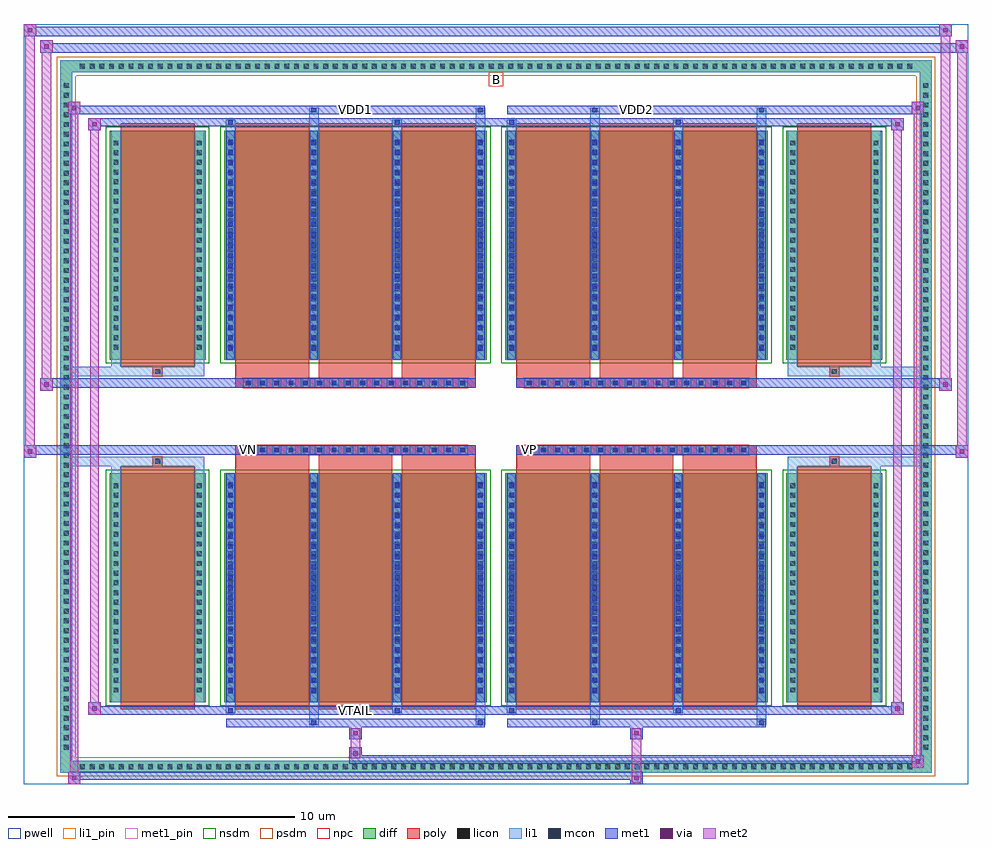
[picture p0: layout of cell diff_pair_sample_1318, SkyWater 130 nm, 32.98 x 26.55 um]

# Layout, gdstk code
import gdstk
lib = gdstk.Library(unit=1e-6, precision=5e-09)
def R(c, l, rs):  # rectangles x0, y0, x1, y1
    for r in rs: c.add(gdstk.rectangle(r[:2], r[2:], *l))
def A(c, l, x, y, w, h, nx, ny, dx, dy):  # array of equal rectangles
    R(c, l, [(x+i*dx, y+j*dy, x+i*dx+w, y+j*dy+h) for i in range(nx) for j in range(ny)])
def P(c, l, *ps):  # polygons
    for p in ps: c.add(gdstk.Polygon(p, *l))
pwell = (64, 44)
diff = (65, 20)
poly = (66, 20)
licon = (66, 44)
li1_pin = (67, 16)
li1 = (67, 20)
mcon = (67, 44)
met1_pin = (68, 16)
met1 = (68, 20)
via = (68, 44)
met2 = (69, 20)
nsdm = (93, 44)
psdm = (94, 20)
npc = (95, 20)

diff_pair_sample_1318 = lib.new_cell('diff_pair_sample_1318')
R(diff_pair_sample_1318, pwell, [(-16.49,-12.84,16.49,13.71), (-13.81,-11.03,-0.01,-0.805), (0.01,-11.03,13.81,-0.805), (-13.81,0.805,-0.01,11.03), (0.01,0.805,13.81,11.03)])
A(diff_pair_sample_1318, diff, -14.655, -12.44, 0.41, 0.41, 86, 2, 0.34, 24.47)
A(diff_pair_sample_1318, diff, -15.22, -11.765, 0.41, 0.41, 1, 69, 0, 0.34)
A(diff_pair_sample_1318, diff, 14.81, -11.765, 0.41, 0.41, 1, 69, 0, 0.34)
R(diff_pair_sample_1318, diff, [(-14.655,-12.44,14.655,-12.03), (-15.22,-11.765,-14.81,11.765), (14.81,-11.765,15.22,11.765), (-13.5,-9.985,-10.14,-1.985), (-9.5,-9.985,-0.32,-1.985), (0.32,-9.985,9.5,-1.985), (10.14,-9.985,13.5,-1.985), (-13.5,1.985,-10.14,9.985), (-9.5,1.985,-0.32,9.985), (0.32,1.985,9.5,9.985), (10.14,1.985,13.5,9.985), (-14.655,12.03,14.655,12.44)])
P(diff_pair_sample_1318, diff, [(15.22,12.44),(-15.22,12.44),(-15.22,-12.03),(-14.81,-12.03),(-14.81,12.03),(14.81,12.03),(14.81,-12.03),(-14.81,-12.03),(-15.22,-12.03),(-15.22,-12.44),(15.22,-12.44)])
A(diff_pair_sample_1318, poly, -9.11, -10.235, 2.58, 8.5, 3, 2, 2.91, 11.97)
A(diff_pair_sample_1318, poly, 0.71, -10.235, 2.58, 8.5, 3, 2, 2.91, 11.97)
A(diff_pair_sample_1318, poly, -9.11, -1.735, 2.58, 0.4, 3, 2, 2.91, 3.07)
A(diff_pair_sample_1318, poly, 0.71, -1.735, 2.58, 0.4, 3, 2, 2.91, 3.07)
A(diff_pair_sample_1318, poly, -8.825, -1.335, 0.33, 0.33, 16, 2, 0.5, 2.34)
A(diff_pair_sample_1318, poly, 0.995, -1.335, 0.33, 0.33, 16, 2, 0.5, 2.34)
R(diff_pair_sample_1318, poly, [(-13.11,-10.235,-10.53,-1.735), (10.53,-10.235,13.11,-1.735), (-11.985,-1.735,-11.655,-1.405), (-11.985,-1.735,-11.655,-1.405), (11.655,-1.735,11.985,-1.405), (11.655,-1.735,11.985,-1.405), (-9.11,-1.335,-0.71,-1.005), (0.71,-1.335,9.11,-1.005), (-9.11,1.005,-0.71,1.335), (0.71,1.005,9.11,1.335), (-11.985,1.405,-11.655,1.735), (-11.985,1.405,-11.655,1.735), (11.655,1.405,11.985,1.735), (11.655,1.405,11.985,1.735), (-13.11,1.735,-10.53,10.235), (10.53,1.735,13.11,10.235)])
A(diff_pair_sample_1318, licon, -14.535, -12.32, 0.17, 0.17, 86, 2, 0.34, 24.47)
A(diff_pair_sample_1318, licon, -15.1, -11.645, 0.17, 0.17, 1, 69, 0, 0.34)
A(diff_pair_sample_1318, licon, 14.93, -11.645, 0.17, 0.17, 1, 69, 0, 0.34)
A(diff_pair_sample_1318, licon, -13.36, -9.64, 0.17, 0.17, 1, 22, 0, 0.34)
A(diff_pair_sample_1318, licon, -10.45, -9.64, 0.17, 0.17, 1, 22, 0, 0.34)
A(diff_pair_sample_1318, licon, -9.36, -9.64, 0.17, 0.17, 4, 22, 2.91, 0.34)
A(diff_pair_sample_1318, licon, 0.46, -9.64, 0.17, 0.17, 4, 22, 2.91, 0.34)
A(diff_pair_sample_1318, licon, 10.28, -9.64, 0.17, 0.17, 1, 22, 0, 0.34)
A(diff_pair_sample_1318, licon, 13.19, -9.64, 0.17, 0.17, 1, 22, 0, 0.34)
A(diff_pair_sample_1318, licon, -8.745, -1.255, 0.17, 0.17, 16, 2, 0.5, 2.34)
A(diff_pair_sample_1318, licon, 1.075, -1.255, 0.17, 0.17, 16, 2, 0.5, 2.34)
A(diff_pair_sample_1318, licon, -13.36, 2.33, 0.17, 0.17, 1, 22, 0, 0.34)
A(diff_pair_sample_1318, licon, -10.45, 2.33, 0.17, 0.17, 1, 22, 0, 0.34)
A(diff_pair_sample_1318, licon, -9.36, 2.33, 0.17, 0.17, 4, 22, 2.91, 0.34)
A(diff_pair_sample_1318, licon, 0.46, 2.33, 0.17, 0.17, 4, 22, 2.91, 0.34)
A(diff_pair_sample_1318, licon, 10.28, 2.33, 0.17, 0.17, 1, 22, 0, 0.34)
A(diff_pair_sample_1318, licon, 13.19, 2.33, 0.17, 0.17, 1, 22, 0, 0.34)
R(diff_pair_sample_1318, licon, [(-11.905,-1.655,-11.735,-1.485), (11.735,-1.655,11.905,-1.485), (-11.905,1.485,-11.735,1.655), (11.735,1.485,11.905,1.655)])
R(diff_pair_sample_1318, li1_pin, [(-0.25,11.53,0.25,12.03)])
A(diff_pair_sample_1318, li1, -14.615, -12.4, 0.33, 0.33, 86, 2, 0.34, 24.47)
A(diff_pair_sample_1318, li1, -15.18, -11.725, 0.33, 0.33, 1, 69, 0, 0.34)
A(diff_pair_sample_1318, li1, 14.85, -11.725, 0.33, 0.33, 1, 69, 0, 0.34)
A(diff_pair_sample_1318, li1, -9.44, -9.985, 0.33, 8, 4, 2, 2.91, 11.97)
A(diff_pair_sample_1318, li1, 0.38, -9.985, 0.33, 8, 4, 2, 2.91, 11.97)
A(diff_pair_sample_1318, li1, -13.44, -9.72, 0.33, 0.33, 1, 22, 0, 0.34)
A(diff_pair_sample_1318, li1, -10.53, -9.72, 0.33, 0.33, 1, 22, 0, 0.34)
A(diff_pair_sample_1318, li1, -9.44, -9.72, 0.33, 0.33, 4, 22, 2.91, 0.34)
A(diff_pair_sample_1318, li1, 0.38, -9.72, 0.33, 0.33, 4, 22, 2.91, 0.34)
A(diff_pair_sample_1318, li1, 10.2, -9.72, 0.33, 0.33, 1, 22, 0, 0.34)
A(diff_pair_sample_1318, li1, 13.11, -9.72, 0.33, 0.33, 1, 22, 0, 0.34)
A(diff_pair_sample_1318, li1, -9.36, -9.67, 0.17, 0.17, 4, 21, 2.91, 0.36)
A(diff_pair_sample_1318, li1, -9.36, -9.67, 0.17, 7.37, 4, 2, 2.91, 11.97)
A(diff_pair_sample_1318, li1, 0.46, -9.67, 0.17, 0.17, 4, 21, 2.91, 0.36)
A(diff_pair_sample_1318, li1, 0.46, -9.67, 0.17, 7.37, 4, 2, 2.91, 11.97)
A(diff_pair_sample_1318, li1, -8.825, -1.335, 0.33, 0.33, 16, 2, 0.5, 2.34)
A(diff_pair_sample_1318, li1, 0.995, -1.335, 0.33, 0.33, 16, 2, 0.5, 2.34)
A(diff_pair_sample_1318, li1, -13.44, 2.25, 0.33, 0.33, 1, 22, 0, 0.34)
A(diff_pair_sample_1318, li1, -10.53, 2.25, 0.33, 0.33, 1, 22, 0, 0.34)
A(diff_pair_sample_1318, li1, -9.44, 2.25, 0.33, 0.33, 4, 22, 2.91, 0.34)
A(diff_pair_sample_1318, li1, 0.38, 2.25, 0.33, 0.33, 4, 22, 2.91, 0.34)
A(diff_pair_sample_1318, li1, 10.2, 2.25, 0.33, 0.33, 1, 22, 0, 0.34)
A(diff_pair_sample_1318, li1, 13.11, 2.25, 0.33, 0.33, 1, 22, 0, 0.34)
A(diff_pair_sample_1318, li1, -9.36, 2.3, 0.17, 0.17, 4, 21, 2.91, 0.36)
A(diff_pair_sample_1318, li1, 0.46, 2.3, 0.17, 0.17, 4, 21, 2.91, 0.36)
R(diff_pair_sample_1318, li1, [(-15.22,-12.44,-14.81,-12.03), (-15.22,-12.44,-14.81,-12.03), (-14.81,-12.44,14.81,-12.03), (14.81,-12.44,15.22,-12.03), (14.81,-12.44,15.22,-12.03), (-15.22,-12.03,-14.81,12.03), (14.81,-12.03,15.22,12.03), (-6.53,-10.79,-6.2,-9.985), (-6.45,-10.79,-6.28,-10.62), (-0.71,-10.79,-0.38,-9.985), (-0.63,-10.79,-0.46,-10.62), (3.29,-10.79,3.62,-9.985), (3.37,-10.79,3.54,-10.62), (9.11,-10.79,9.44,-9.985), (9.19,-10.79,9.36,-10.62), (-9.44,-10.36,-9.11,-9.985), (-9.36,-10.36,-9.19,-10.19), (-3.62,-10.36,-3.29,-9.985), (-3.54,-10.36,-3.37,-10.19), (0.38,-10.36,0.71,-9.985), (0.46,-10.36,0.63,-10.19), (6.2,-10.36,6.53,-9.985), (6.28,-10.36,6.45,-10.19), (-13.44,-9.985,-13.11,-1.985), (-10.53,-9.985,-10.2,-1.985), (10.2,-9.985,10.53,-1.985), (13.11,-9.985,13.44,-1.985), (-13.44,-1.985,-13.11,-1.405), (-10.53,-1.985,-10.2,-1.405), (10.2,-1.985,10.53,-1.405), (13.11,-1.985,13.44,-1.405), (-15.22,-1.735,-11.985,-1.405), (-13.44,-1.735,-11.985,-1.405), (-11.985,-1.735,-11.655,-1.405), (-11.655,-1.735,-10.2,-1.405), (10.2,-1.735,11.655,-1.405), (11.655,-1.735,11.985,-1.405), (11.655,-1.735,15.22,-1.405), (11.985,-1.735,13.44,-1.405), (-15.22,1.405,-11.985,1.735), (-13.44,1.405,-11.985,1.735), (-13.44,1.405,-13.11,1.985), (-11.985,1.405,-11.655,1.735), (-11.655,1.405,-10.2,1.735), (-10.53,1.405,-10.2,1.985), (10.2,1.405,11.655,1.735), (10.2,1.405,10.53,1.985), (11.655,1.405,11.985,1.735), (11.655,1.405,15.22,1.735), (11.985,1.405,13.44,1.735), (13.11,1.405,13.44,1.985), (-13.44,1.985,-13.11,9.985), (-10.53,1.985,-10.2,9.985), (10.2,1.985,10.53,9.985), (13.11,1.985,13.44,9.985), (-9.44,9.985,-9.11,10.36), (-6.53,9.985,-6.2,10.79), (-3.62,9.985,-3.29,10.36), (-0.71,9.985,-0.38,10.79), (0.38,9.985,0.71,10.36), (3.29,9.985,3.62,10.79), (6.2,9.985,6.53,10.36), (9.11,9.985,9.44,10.79), (-9.36,10.19,-9.19,10.36), (-3.54,10.19,-3.37,10.36), (0.46,10.19,0.63,10.36), (6.28,10.19,6.45,10.36), (-6.45,10.62,-6.28,10.79), (-0.63,10.62,-0.46,10.79), (3.37,10.62,3.54,10.79), (9.19,10.62,9.36,10.79), (-15.22,12.03,-14.81,12.44), (-15.22,12.03,-14.81,12.44), (-14.81,12.03,14.81,12.44), (14.81,12.03,15.22,12.44), (14.81,12.03,15.22,12.44)])
A(diff_pair_sample_1318, mcon, -9.36, -9.67, 0.17, 0.17, 4, 21, 2.91, 0.36)
A(diff_pair_sample_1318, mcon, 0.46, -9.67, 0.17, 0.17, 4, 21, 2.91, 0.36)
A(diff_pair_sample_1318, mcon, -8.745, -1.255, 0.17, 0.17, 16, 2, 0.5, 2.34)
A(diff_pair_sample_1318, mcon, 1.075, -1.255, 0.17, 0.17, 16, 2, 0.5, 2.34)
A(diff_pair_sample_1318, mcon, -9.36, 2.3, 0.17, 0.17, 4, 21, 2.91, 0.36)
A(diff_pair_sample_1318, mcon, 0.46, 2.3, 0.17, 0.17, 4, 21, 2.91, 0.36)
R(diff_pair_sample_1318, mcon, [(-6.45,-10.79,-6.28,-10.62), (-0.63,-10.79,-0.46,-10.62), (3.37,-10.79,3.54,-10.62), (9.19,-10.79,9.36,-10.62), (-9.36,-10.36,-9.19,-10.19), (-3.54,-10.36,-3.37,-10.19), (0.46,-10.36,0.63,-10.19), (6.28,-10.36,6.45,-10.19), (-9.36,10.19,-9.19,10.36), (-3.54,10.19,-3.37,10.36), (0.46,10.19,0.63,10.36), (6.28,10.19,6.45,10.36), (-6.45,10.62,-6.28,10.79), (-0.63,10.62,-0.46,10.79), (3.37,10.62,3.54,10.79), (9.19,10.62,9.36,10.79)])
R(diff_pair_sample_1318, met1_pin, [(-5.045,-10.4,-4.775,-10.13), (-8.795,-1.295,-8.525,-1.025), (1.025,-1.295,1.295,-1.025), (-5.045,10.58,-4.775,10.85), (4.775,10.58,5.045,10.85)])
A(diff_pair_sample_1318, met1, -9.42, -9.985, 0.29, 8, 4, 2, 2.91, 11.97)
A(diff_pair_sample_1318, met1, 0.4, -9.985, 0.29, 8, 4, 2, 2.91, 11.97)
A(diff_pair_sample_1318, met1, -9.42, -9.73, 0.29, 0.29, 4, 21, 2.91, 0.36)
A(diff_pair_sample_1318, met1, 0.4, -9.73, 0.29, 0.29, 4, 21, 2.91, 0.36)
A(diff_pair_sample_1318, met1, -8.805, -1.315, 0.29, 0.29, 16, 2, 0.5, 2.34)
A(diff_pair_sample_1318, met1, 1.015, -1.315, 0.29, 0.29, 16, 2, 0.5, 2.34)
A(diff_pair_sample_1318, met1, -9.42, 2.24, 0.29, 0.29, 4, 21, 2.91, 0.36)
A(diff_pair_sample_1318, met1, 0.4, 2.24, 0.29, 0.29, 4, 21, 2.91, 0.36)
R(diff_pair_sample_1318, met1, [(-14.95,-12.84,-14.52,-12.41), (4.695,-12.84,5.125,-12.41), (-14.95,-12.7,5.125,-12.41), (14.52,-12.27,14.95,-11.84), (-5.125,-12.13,14.95,-11.84), (-5.125,-11.99,-4.695,-11.56), (-5.125,-11.28,-4.695,-10.85), (4.695,-11.28,5.125,-10.85), (-9.42,-10.85,-0.4,-10.56), (-6.51,-10.85,-6.22,-10.56), (-0.69,-10.85,-0.4,-10.56), (0.4,-10.85,9.42,-10.56), (3.31,-10.85,3.6,-10.56), (9.13,-10.85,9.42,-10.56), (-14.24,-10.42,-13.81,-9.99), (-14.24,-10.42,-9.42,-10.13), (-9.42,-10.42,-9.13,-10.13), (-9.42,-10.42,-0.4,-10.13), (-3.6,-10.42,-3.31,-10.13), (-0.4,-10.42,0.4,-10.13), (0.4,-10.42,0.69,-10.13), (0.4,-10.42,9.42,-10.13), (6.22,-10.42,6.51,-10.13), (9.42,-10.42,14.24,-10.13), (13.81,-10.42,14.24,-9.99), (-16.49,-1.435,-16.06,-1.005), (16.06,-1.435,16.49,-1.005), (-16.49,-1.335,-0.71,-1.005), (-9.11,-1.335,-0.71,-1.005), (0.71,-1.335,9.11,-1.005), (0.71,-1.335,16.49,-1.005), (-15.92,0.905,-15.49,1.335), (15.49,0.905,15.92,1.335), (-15.92,1.005,-9.11,1.335), (-9.11,1.005,-0.71,1.335), (0.71,1.005,9.11,1.335), (9.11,1.005,15.92,1.335), (-14.24,9.99,-13.81,10.42), (13.81,9.99,14.24,10.42), (-14.24,10.13,-9.42,10.42), (-9.42,10.13,-9.13,10.42), (-9.42,10.13,-0.4,10.42), (-3.6,10.13,-3.31,10.42), (-0.4,10.13,0.4,10.42), (0.4,10.13,0.69,10.42), (0.4,10.13,9.42,10.42), (6.22,10.13,6.51,10.42), (9.42,10.13,14.24,10.42), (-14.95,10.56,-14.52,10.99), (-14.95,10.56,-9.42,10.85), (-9.42,10.56,-0.4,10.85), (-6.51,10.56,-6.22,10.85), (-0.69,10.56,-0.4,10.85), (0.4,10.56,9.42,10.85), (3.31,10.56,3.6,10.85), (9.13,10.56,9.42,10.85), (9.42,10.56,14.95,10.85), (14.52,10.56,14.95,10.99), (-15.92,12.71,-15.49,13.14), (-15.92,12.71,-13.81,13.04), (-13.81,12.71,13.81,13.04), (13.81,12.71,16.49,13.04), (16.06,12.71,16.49,13.14), (-16.49,13.28,-16.06,13.71), (-16.49,13.28,-13.81,13.61), (-13.81,13.28,13.81,13.61), (13.81,13.28,15.92,13.61), (15.49,13.28,15.92,13.71)])
R(diff_pair_sample_1318, via, [(-14.81,-12.7,-14.66,-12.55), (4.835,-12.7,4.985,-12.55), (14.66,-12.13,14.81,-11.98), (-4.985,-11.85,-4.835,-11.7), (-4.985,-11.14,-4.835,-10.99), (4.835,-11.14,4.985,-10.99), (-14.1,-10.28,-13.95,-10.13), (13.95,-10.28,14.1,-10.13), (-16.35,-1.295,-16.2,-1.145), (16.2,-1.295,16.35,-1.145), (-15.78,1.045,-15.63,1.195), (15.63,1.045,15.78,1.195), (-14.1,10.13,-13.95,10.28), (13.95,10.13,14.1,10.28), (-14.81,10.7,-14.66,10.85), (14.66,10.7,14.81,10.85), (-15.78,12.85,-15.63,13), (16.2,12.85,16.35,13), (-16.35,13.42,-16.2,13.57), (15.63,13.42,15.78,13.57)])
R(diff_pair_sample_1318, met2, [(-14.95,-12.84,-14.52,-12.41), (-14.88,-12.84,-14.59,10.99), (-14.59,-12.84,-14.52,-12.41), (-14.9,-12.79,-14.57,-12.46), (4.745,-12.79,5.075,-12.46), (4.745,-12.46,5.075,-11.23), (14.52,-12.27,14.95,-11.84), (14.59,-12.27,14.88,10.99), (14.88,-12.27,14.95,-11.84), (14.57,-12.22,14.9,-11.89), (-5.075,-11.94,-4.745,-11.61), (-5.075,-11.61,-4.745,-11.23), (-5.075,-11.23,-4.745,-10.9), (4.745,-11.23,5.075,-10.9), (-14.24,-10.42,-13.81,-9.99), (-14.17,-10.42,-13.88,10.42), (-13.88,-10.42,-13.81,-9.99), (13.81,-10.42,14.24,-9.99), (13.88,-10.42,14.17,10.42), (14.17,-10.42,14.24,-9.99), (-14.19,-10.37,-13.86,-10.04), (13.86,-10.37,14.19,-10.04), (-16.49,-1.435,-16.06,-1.005), (-16.44,-1.435,-16.11,13.71), (-16.11,-1.435,-16.06,-1.005), (16.06,-1.435,16.49,-1.005), (16.11,-1.435,16.44,13.14), (16.44,-1.435,16.49,-1.005), (-16.44,-1.385,-16.11,-1.055), (16.11,-1.385,16.44,-1.055), (-15.92,0.905,-15.49,1.335), (-15.87,0.905,-15.54,13.14), (-15.54,0.905,-15.49,1.335), (15.49,0.905,15.92,1.335), (15.54,0.905,15.87,13.71), (15.87,0.905,15.92,1.335), (-15.87,0.955,-15.54,1.285), (15.54,0.955,15.87,1.285), (-14.24,9.99,-13.81,10.42), (-13.88,9.99,-13.81,10.42), (13.81,9.99,14.24,10.42), (14.17,9.99,14.24,10.42), (-14.19,10.04,-13.86,10.37), (13.86,10.04,14.19,10.37), (-14.95,10.56,-14.52,10.99), (-14.59,10.56,-14.52,10.99), (14.52,10.56,14.95,10.99), (14.88,10.56,14.95,10.99), (-14.9,10.61,-14.57,10.94), (14.57,10.61,14.9,10.94), (-15.92,12.71,-15.49,13.14), (-15.54,12.71,-15.49,13.14), (16.06,12.71,16.49,13.14), (16.44,12.71,16.49,13.14), (-15.87,12.76,-15.54,13.09), (16.11,12.76,16.44,13.09), (-16.49,13.28,-16.06,13.71), (-16.11,13.28,-16.06,13.71), (15.49,13.28,15.92,13.71), (15.87,13.28,15.92,13.71), (-16.44,13.33,-16.11,13.66), (15.54,13.33,15.87,13.66)])
R(diff_pair_sample_1318, nsdm, [(-13.63,-10.115,-10.01,-1.855), (-9.63,-10.115,-0.19,-1.855), (0.19,-10.115,9.63,-1.855), (10.01,-10.115,13.63,-1.855), (-13.63,1.855,-10.01,10.115), (-9.63,1.855,-0.19,10.115), (0.19,1.855,9.63,10.115), (10.01,1.855,13.63,10.115)])
P(diff_pair_sample_1318, psdm, [(15.35,12.57),(-15.35,12.57),(-15.35,-11.9),(-14.68,-11.9),(-14.68,11.9),(14.68,11.9),(14.68,-11.9),(-14.68,-11.9),(-15.35,-11.9),(-15.35,-12.57),(15.35,-12.57)])
A(diff_pair_sample_1318, npc, -8.845, -1.355, 0.37, 0.37, 16, 2, 0.5, 2.34)
A(diff_pair_sample_1318, npc, 0.975, -1.355, 0.37, 0.37, 16, 2, 0.5, 2.34)
R(diff_pair_sample_1318, npc, [(-12.005,-1.755,-11.635,-1.385), (11.635,-1.755,12.005,-1.385), (-8.845,-1.355,-7.975,-0.985), (-8.845,-1.355,-7.975,-0.985), (-8.345,-1.355,-7.475,-0.985), (-8.345,-1.355,-7.475,-0.985), (-7.845,-1.355,-6.975,-0.985), (-7.845,-1.355,-6.975,-0.985), (-7.345,-1.355,-6.475,-0.985), (-7.345,-1.355,-6.475,-0.985), (-6.845,-1.355,-5.975,-0.985), (-6.845,-1.355,-5.975,-0.985), (-6.345,-1.355,-5.475,-0.985), (-6.345,-1.355,-5.475,-0.985), (-5.845,-1.355,-4.975,-0.985), (-5.845,-1.355,-4.975,-0.985), (-5.345,-1.355,-4.475,-0.985), (-5.345,-1.355,-4.475,-0.985), (-4.845,-1.355,-3.975,-0.985), (-4.845,-1.355,-3.975,-0.985), (-4.345,-1.355,-3.475,-0.985), (-4.345,-1.355,-3.475,-0.985), (-3.845,-1.355,-2.975,-0.985), (-3.845,-1.355,-2.975,-0.985), (-3.345,-1.355,-2.475,-0.985), (-3.345,-1.355,-2.475,-0.985), (-2.845,-1.355,-1.975,-0.985), (-2.845,-1.355,-1.975,-0.985), (-2.345,-1.355,-1.475,-0.985), (-2.345,-1.355,-1.475,-0.985), (-1.845,-1.355,-0.975,-0.985), (-1.845,-1.355,-0.975,-0.985), (0.975,-1.355,1.845,-0.985), (0.975,-1.355,1.845,-0.985), (1.475,-1.355,2.345,-0.985), (1.475,-1.355,2.345,-0.985), (1.975,-1.355,2.845,-0.985), (1.975,-1.355,2.845,-0.985), (2.475,-1.355,3.345,-0.985), (2.475,-1.355,3.345,-0.985), (2.975,-1.355,3.845,-0.985), (2.975,-1.355,3.845,-0.985), (3.475,-1.355,4.345,-0.985), (3.475,-1.355,4.345,-0.985), (3.975,-1.355,4.845,-0.985), (3.975,-1.355,4.845,-0.985), (4.475,-1.355,5.345,-0.985), (4.475,-1.355,5.345,-0.985), (4.975,-1.355,5.845,-0.985), (4.975,-1.355,5.845,-0.985), (5.475,-1.355,6.345,-0.985), (5.475,-1.355,6.345,-0.985), (5.975,-1.355,6.845,-0.985), (5.975,-1.355,6.845,-0.985), (6.475,-1.355,7.345,-0.985), (6.475,-1.355,7.345,-0.985), (6.975,-1.355,7.845,-0.985), (6.975,-1.355,7.845,-0.985), (7.475,-1.355,8.345,-0.985), (7.475,-1.355,8.345,-0.985), (7.975,-1.355,8.845,-0.985), (7.975,-1.355,8.845,-0.985), (-8.845,0.985,-7.975,1.355), (-8.845,0.985,-7.975,1.355), (-8.345,0.985,-7.475,1.355), (-8.345,0.985,-7.475,1.355), (-7.845,0.985,-6.975,1.355), (-7.845,0.985,-6.975,1.355), (-7.345,0.985,-6.475,1.355), (-7.345,0.985,-6.475,1.355), (-6.845,0.985,-5.975,1.355), (-6.845,0.985,-5.975,1.355), (-6.345,0.985,-5.475,1.355), (-6.345,0.985,-5.475,1.355), (-5.845,0.985,-4.975,1.355), (-5.845,0.985,-4.975,1.355), (-5.345,0.985,-4.475,1.355), (-5.345,0.985,-4.475,1.355), (-4.845,0.985,-3.975,1.355), (-4.845,0.985,-3.975,1.355), (-4.345,0.985,-3.475,1.355), (-4.345,0.985,-3.475,1.355), (-3.845,0.985,-2.975,1.355), (-3.845,0.985,-2.975,1.355), (-3.345,0.985,-2.475,1.355), (-3.345,0.985,-2.475,1.355), (-2.845,0.985,-1.975,1.355), (-2.845,0.985,-1.975,1.355), (-2.345,0.985,-1.475,1.355), (-2.345,0.985,-1.475,1.355), (-1.845,0.985,-0.975,1.355), (-1.845,0.985,-0.975,1.355), (0.975,0.985,1.845,1.355), (0.975,0.985,1.845,1.355), (1.475,0.985,2.345,1.355), (1.475,0.985,2.345,1.355), (1.975,0.985,2.845,1.355), (1.975,0.985,2.845,1.355), (2.475,0.985,3.345,1.355), (2.475,0.985,3.345,1.355), (2.975,0.985,3.845,1.355), (2.975,0.985,3.845,1.355), (3.475,0.985,4.345,1.355), (3.475,0.985,4.345,1.355), (3.975,0.985,4.845,1.355), (3.975,0.985,4.845,1.355), (4.475,0.985,5.345,1.355), (4.475,0.985,5.345,1.355), (4.975,0.985,5.845,1.355), (4.975,0.985,5.845,1.355), (5.475,0.985,6.345,1.355), (5.475,0.985,6.345,1.355), (5.975,0.985,6.845,1.355), (5.975,0.985,6.845,1.355), (6.475,0.985,7.345,1.355), (6.475,0.985,7.345,1.355), (6.975,0.985,7.845,1.355), (6.975,0.985,7.845,1.355), (7.475,0.985,8.345,1.355), (7.475,0.985,8.345,1.355), (7.975,0.985,8.845,1.355), (7.975,0.985,8.845,1.355), (-12.005,1.385,-11.635,1.755), (11.635,1.385,12.005,1.755)])
diff_pair_sample_1318.add(gdstk.Label('VTAIL', (-4.91,-10.265), layer=68, texttype=5))
diff_pair_sample_1318.add(gdstk.Label('VN', (-8.66,-1.16), layer=68, texttype=5))
diff_pair_sample_1318.add(gdstk.Label('VP', (1.16,-1.16), layer=68, texttype=5))
diff_pair_sample_1318.add(gdstk.Label('B', (0,11.78), layer=67, texttype=5))
diff_pair_sample_1318.add(gdstk.Label('VDD2', (4.91,10.715), layer=68, texttype=5))
diff_pair_sample_1318.add(gdstk.Label('VDD1', (-4.91,10.715), layer=68, texttype=5))

lib.write_gds('diff_pair_sample_1318.gds')
